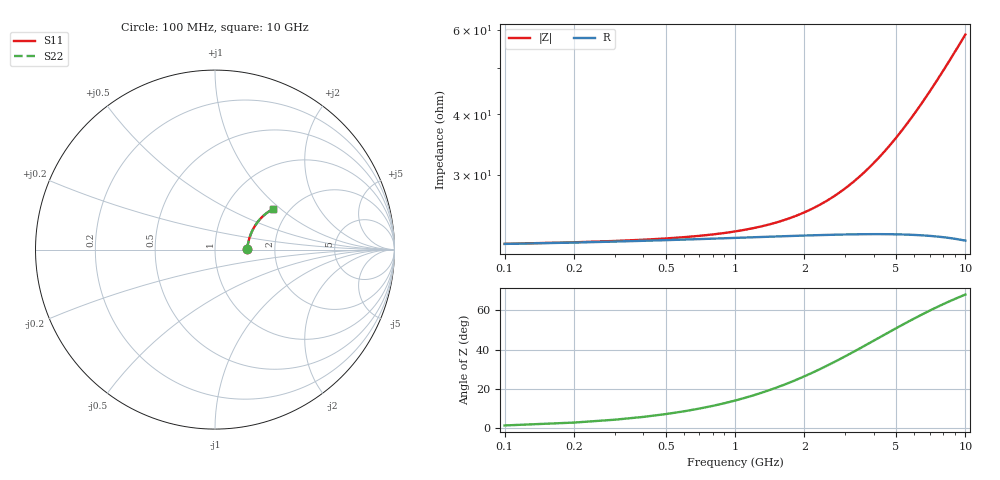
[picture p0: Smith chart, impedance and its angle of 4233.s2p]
# Hz S RI R 50.00
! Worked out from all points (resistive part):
!   100 points, 100 MHz to 10 GHz, reference 50 ohm
!   read as one part in series: R = 21.6 ohm at 100 MHz
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1e8  0.1773 0.00299  0.8227 -0.00453  0.8227 -0.00453  0.1773 0.00299
2e8  0.1783 0.00596  0.8217 -0.00904  0.8217 -0.00904  0.1783 0.00596
4e8  0.1798 0.0119  0.8202 -0.018  0.8202 -0.018  0.1798 0.0119
8e8  0.1821 0.0236  0.8178 -0.0359  0.8178 -0.0359  0.1821 0.0236
1.1e9  0.1839 0.0323  0.8159 -0.0493  0.8159 -0.0493  0.1839 0.0323
1.4e9  0.1858 0.041  0.8139 -0.0625  0.8139 -0.0625  0.1858 0.041
1.8e9  0.1886 0.0524  0.811 -0.0801  0.811 -0.0801  0.1886 0.0524
2.1e9  0.1909 0.0608  0.8085 -0.0932  0.8085 -0.0932  0.1909 0.0608
2.5e9  0.1944 0.072  0.8048 -0.1105  0.8048 -0.1105  0.1944 0.072
2.9e9  0.1983 0.0829  0.8006 -0.1276  0.8006 -0.1276  0.1983 0.0829
3.4e9  0.2037 0.0963  0.7947 -0.1487  0.7947 -0.1487  0.2037 0.0963
4.2e9  0.2138 0.1169  0.7839 -0.1817  0.7839 -0.1817  0.2138 0.1169
4.6e9  0.2194 0.1268  0.7778 -0.1978  0.7778 -0.1978  0.2194 0.1268
5.1e9  0.2269 0.1388  0.7697 -0.2176  0.7697 -0.2176  0.2269 0.1388
5.9e9  0.2401 0.1569  0.7553 -0.2481  0.7553 -0.2481  0.2401 0.1569
6.7e9  0.2546 0.1736  0.7395 -0.2773  0.7395 -0.2773  0.2546 0.1736
7.2e9  0.2642 0.1833  0.7289 -0.2948  0.7289 -0.2948  0.2642 0.1833
7.6e9  0.2723 0.1907  0.7201 -0.3084  0.7201 -0.3084  0.2723 0.1907
8e9  0.2805 0.1976  0.7111 -0.3216  0.7111 -0.3216  0.2805 0.1976
8.4e9  0.289 0.2042  0.7017 -0.3344  0.7017 -0.3344  0.289 0.2042
9.2e9  0.3064 0.2162  0.6824 -0.3589  0.6824 -0.3589  0.3064 0.2162
1e10  0.3245 0.2265  0.6622 -0.3819  0.6622 -0.3819  0.3245 0.2265
